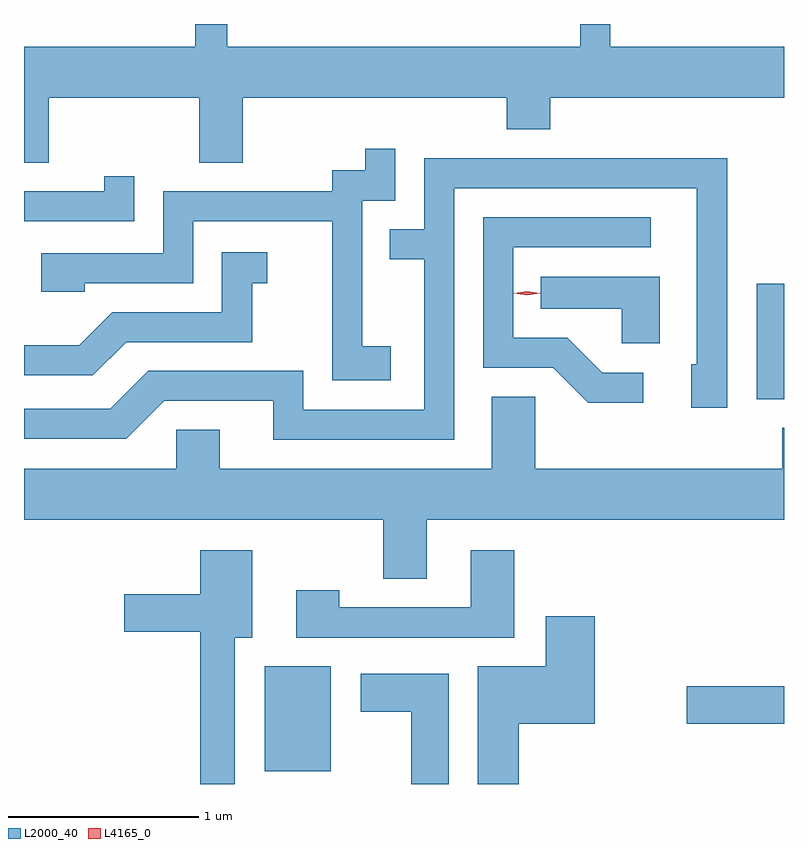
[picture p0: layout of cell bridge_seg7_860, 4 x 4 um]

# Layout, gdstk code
import gdstk
lib = gdstk.Library(unit=1e-6, precision=1e-09)
def R(c, l, rs):  # rectangles x0, y0, x1, y1
    for r in rs: c.add(gdstk.rectangle(r[:2], r[2:], *l))
def P(c, l, *ps):  # polygons
    for p in ps: c.add(gdstk.Polygon(p, *l))
L2000_40 = (2000, 40)
L4165_0 = (4165, 0)

bridge_seg7_860 = lib.new_cell('bridge_seg7_860')
R(bridge_seg7_860, L2000_40, [(280.016,1693.011,280.364,1693.564), (282.236,1693.261,282.749,1693.459), (282.606,1694.971,282.749,1695.578)])
P(bridge_seg7_860, L2000_40, [(279.819,1696.945),(279.651,1696.945),(279.651,1696.824),(278.749,1696.824),(278.749,1696.216),(278.879,1696.216),(278.879,1696.556),(279.671,1696.556),(279.671,1696.216),(279.899,1696.216),(279.899,1696.556),(281.291,1696.556),(281.291,1696.391),(281.519,1696.391),(281.519,1696.556),(282.749,1696.556),(282.749,1696.824),(281.834,1696.824),(281.834,1696.945),(281.676,1696.945),(281.676,1696.824),(279.819,1696.824)],
  [(280.679,1695.249),(280.529,1695.249),(280.529,1696.016),(280.704,1696.016),(280.704,1696.288),(280.546,1696.288),(280.546,1696.174),(280.371,1696.174),(280.371,1696.064),(279.481,1696.064),(279.481,1695.739),(278.841,1695.739),(278.841,1695.536),(279.069,1695.536),(279.069,1695.581),(279.639,1695.581),(279.639,1695.906),(280.371,1695.906),(280.371,1695.071),(280.679,1695.071)],
  [(281.014,1696.081),(282.291,1696.081),(282.291,1695.154),(282.261,1695.154),(282.261,1694.926),(282.449,1694.926),(282.449,1696.239),(280.856,1696.239),(280.856,1695.864),(280.673,1695.864),(280.673,1695.706),(280.856,1695.706),(280.856,1694.914),(280.219,1694.914),(280.219,1695.119),(279.404,1695.119),(279.204,1694.919),(278.749,1694.919),(278.749,1694.761),(279.287,1694.761),(279.487,1694.961),(280.061,1694.961),(280.061,1694.756),(281.014,1694.756)],
  [(279.329,1696.143),(279.171,1696.143),(279.171,1696.064),(278.749,1696.064),(278.749,1695.906),(279.329,1695.906)],
  [(282.008,1695.109),(281.792,1695.109),(281.607,1695.294),(281.324,1695.294),(281.324,1695.771),(282.048,1695.771),(282.048,1695.929),(281.166,1695.929),(281.166,1695.136),(281.534,1695.136),(281.719,1694.951),(282.008,1694.951)],
  [(279.287,1695.271),(279.949,1695.271),(279.949,1695.581),(280.028,1695.581),(280.028,1695.744),(279.791,1695.744),(279.791,1695.429),(279.214,1695.429),(279.039,1695.254),(278.749,1695.254),(278.749,1695.096),(279.112,1695.096)],
  [(282.094,1695.614),(281.468,1695.614),(281.468,1695.446),(281.896,1695.446),(281.896,1695.266),(282.094,1695.266)],
  [(280.869,1694.336),(282.749,1694.336),(282.749,1694.819),(282.741,1694.819),(282.741,1694.604),(281.439,1694.604),(281.439,1694.984),(281.211,1694.984),(281.211,1694.604),(279.779,1694.604),(279.779,1694.809),(279.551,1694.809),(279.551,1694.604),(278.749,1694.604),(278.749,1694.336),(280.641,1694.336),(280.641,1694.026),(280.869,1694.026)],
  [(281.329,1694.174),(281.101,1694.174),(281.101,1693.874),(280.409,1693.874),(280.409,1693.964),(280.181,1693.964),(280.181,1693.716),(281.329,1693.716)],
  [(279.859,1693.716),(279.949,1693.716),(279.949,1694.174),(279.676,1694.174),(279.676,1693.944),(279.276,1693.944),(279.276,1693.746),(279.676,1693.746),(279.676,1692.945),(279.859,1692.945)],
  [(281.354,1693.261),(281.754,1693.261),(281.754,1693.829),(281.496,1693.829),(281.496,1693.564),(281.136,1693.564),(281.136,1692.945),(281.354,1692.945)],
  [(280.984,1693.524),(280.521,1693.524),(280.521,1693.326),(280.786,1693.326),(280.786,1692.945),(280.984,1692.945)])
P(bridge_seg7_860, L4165_0, [(281.396,1695.519),(281.33,1695.528),(281.329,1695.529),(281.33,1695.529),(281.396,1695.539),(281.462,1695.529),(281.463,1695.529),(281.462,1695.528)],
  [(281.396,1695.518),(281.327,1695.528),(281.327,1695.528),(281.327,1695.529),(281.396,1695.538),(281.466,1695.529),(281.466,1695.528),(281.466,1695.528)])

lib.write_gds('bridge_seg7_860.gds')
